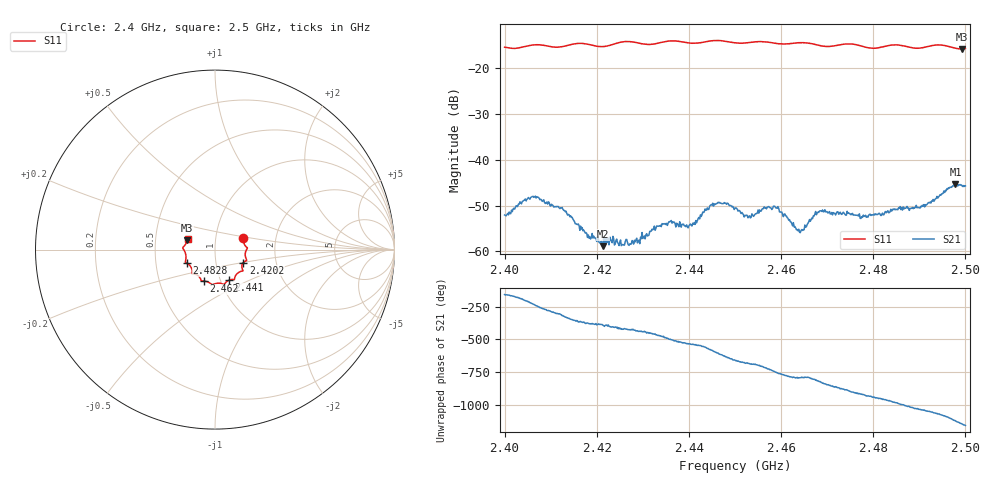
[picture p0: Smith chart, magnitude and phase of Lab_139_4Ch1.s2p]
# Hz S RI R 50
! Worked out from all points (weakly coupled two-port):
!   601 points, 2.4 GHz to 2.5 GHz, reference 50 ohm
!   highest |S21| = -45.37 dB at 2.4978 GHz (marker M1); lowest = -58.9 dB at 2.4213 GHz (marker M2)
!   lowest |S11| = -15.8 dB at 2.4993 GHz (marker M3), VSWR 1.39, Z = 36.5 + j3.88 ohm
!   |S11| at or under -10 dB: start of sweep to end of sweep
!   S12 and S22 are empty: the file has one direction only
!   S11 on the Smith chart (normalised r, x): 2.4 GHz: 1.36, +0.17; 2.4202 GHz: 1.36, -0.20; 2.441 GHz: 1.10, -0.39; 2.462 GHz: 0.83, -0.30; 2.4828 GHz: 0.72, -0.11; 2.5 GHz: 0.73, +0.09
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2.4e9  0.1581 0.0621  -0.00231 -0.000954  0 0  0 0
2.406667e9  0.1802 0.00984  -0.00206 0.00344  0 0  0 0
2.416667e9  0.1768 -0.0605  0.00174 -0.000247  0 0  0 0
2.420167e9  0.1578 -0.0719  0.0013 -0.000639  0 0  0 0
2.421333e9  0.1519 -0.0815  0.000967 -0.000599  0 0  0 0
2.4275e9  0.154 -0.1192  0.000528 -0.00108  0 0  0 0
2.433333e9  0.1117 -0.1511  -0.000655 -0.00176  0 0  0 0
2.441e9  0.0781 -0.1701  -0.00197 -1.73e-05  0 0  0 0
2.445e9  0.0524 -0.1927  -0.00232 0.00222  0 0  0 0
2.45e9  0.0277 -0.1875  0.00144 0.00259  0 0  0 0
2.453e9  -0.00085 -0.1906  0.00193 0.00142  0 0  0 0
2.458833e9  -0.0317 -0.1844  0.00258 -0.00152  0 0  0 0
2.462e9  -0.0609 -0.1757  0.000834 -0.00193  0 0  0 0
2.4645e9  -0.0749 -0.175  0.00062 -0.00161  0 0  0 0
2.466667e9  -0.0787 -0.1679  0.000423 -0.00227  0 0  0 0
2.469e9  -0.0881 -0.1508  -0.0012 -0.00256  0 0  0 0
2.482833e9  -0.1571 -0.0768  -0.00116 0.00237  0 0  0 0
2.483333e9  -0.1603 -0.0754  -0.000903 0.00248  0 0  0 0
2.490667e9  -0.1666 -0.0149  0.00239 0.0021  0 0  0 0
2.497833e9  -0.162 0.0327  0.00394 -0.00368  0 0  0 0
2.499333e9  -0.1543 0.0518  0.00192 -0.00477  0 0  0 0
2.5e9  -0.1526 0.0615  0.00107 -0.00507  0 0  0 0
